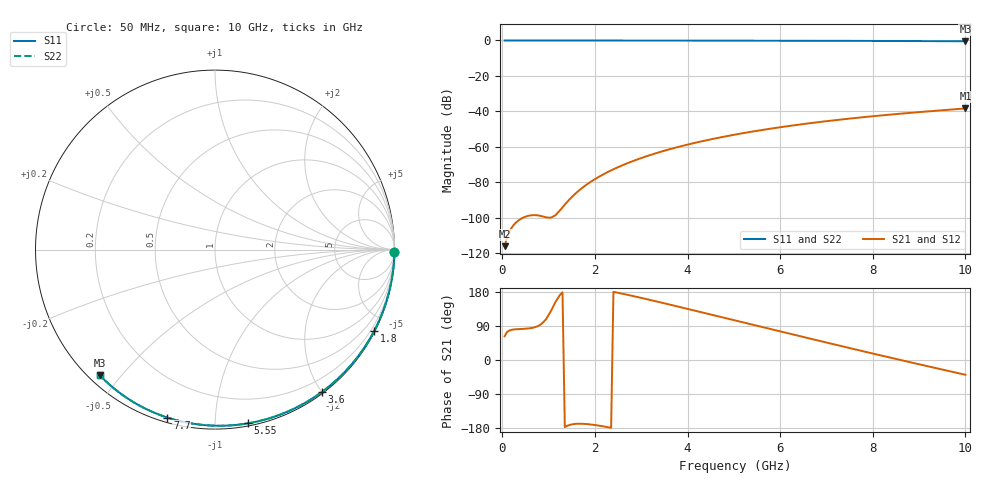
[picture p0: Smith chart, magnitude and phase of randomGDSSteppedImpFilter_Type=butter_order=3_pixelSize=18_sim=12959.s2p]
! freq	dB(S11)	phase(S11)	dB(S12)	phase(S12)
!  dB(S21)	phase(S21)	dB(S22)	phase(S22)
!S-par simulation data
#  GHz  S  DB  R 50
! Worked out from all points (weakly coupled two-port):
!   200 points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, 50 MHz to 10 GHz, reference 50 ohm
!   highest |S21| = -38.33 dB at 10 GHz (marker M1); lowest = -116.0 dB at 50 MHz (marker M2)
!   lowest |S11| = -0.4 dB at 10 GHz (marker M3), VSWR 39.04, Z = 1.53 - j22 ohm
!   |S11| at or under -10 dB: nowhere
!   |S22| runs from -0.4 to 0.0 dB; largest |S21 - S12| = 0
!   S11 on the Smith chart (normalised r, x): 50 MHz: open; 1.8 GHz: 0.04, -4.14; 3.6 GHz: 0.02, -2.00; 5.55 GHz: 0.02, -1.21; 7.7 GHz: 0.02, -0.76; 10 GHz: 0.03, -0.44
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0.05  -0.00 -0.8  -115.97 62.4  -115.97 62.4  -0.00 -0.8
0.45  -0.01 -6.9  -99.88 82.1  -99.88 82.1  -0.01 -6.9
0.9  -0.02 -13.7  -99.40 101.6  -99.40 101.6  -0.02 -13.7
1.75  -0.03 -26.4  -82.62 -168.4  -82.62 -168.4  -0.03 -26.4
1.8  -0.03 -27.2  -81.65 -168.8  -81.65 -168.8  -0.03 -27.1
1.9  -0.04 -28.6  -79.85 -170.0  -79.85 -170.0  -0.04 -28.6
2.05  -0.04 -30.8  -77.40 -172.5  -77.40 -172.5  -0.04 -30.8
2.25  -0.04 -33.8  -74.53 -176.6  -74.53 -176.6  -0.04 -33.8
2.45  -0.05 -36.7  -72.01 178.6  -72.01 178.6  -0.05 -36.7
2.65  -0.05 -39.6  -69.75 173.5  -69.75 173.5  -0.05 -39.6
3  -0.06 -44.6  -66.29 163.9  -66.29 163.9  -0.06 -44.6
3.4  -0.07 -50.3  -62.92 152.5  -62.92 152.5  -0.07 -50.3
3.6  -0.07 -53.1  -61.42 146.7  -61.42 146.7  -0.07 -53.1
4.3  -0.09 -62.7  -56.88 126.0  -56.88 126.0  -0.09 -62.7
5.05  -0.11 -72.8  -52.95 103.7  -52.95 103.7  -0.11 -72.7
5.55  -0.13 -79.3  -50.72 88.9  -50.72 88.9  -0.13 -79.2
6.1  -0.15 -86.3  -48.55 72.6  -48.55 72.6  -0.15 -86.3
6.7  -0.18 -93.8  -46.46 54.9  -46.46 54.9  -0.18 -93.7
7.7  -0.24 -105.8  -43.50 25.7  -43.50 25.7  -0.24 -105.8
8.35  -0.29 -113.5  -41.86 7.0  -41.86 7.0  -0.29 -113.5
9.15  -0.36 -122.8  -40.07 -15.5  -40.07 -15.5  -0.36 -122.7
10  -0.45 -132.5  -38.33 -39.0  -38.33 -39.0  -0.44 -132.5
